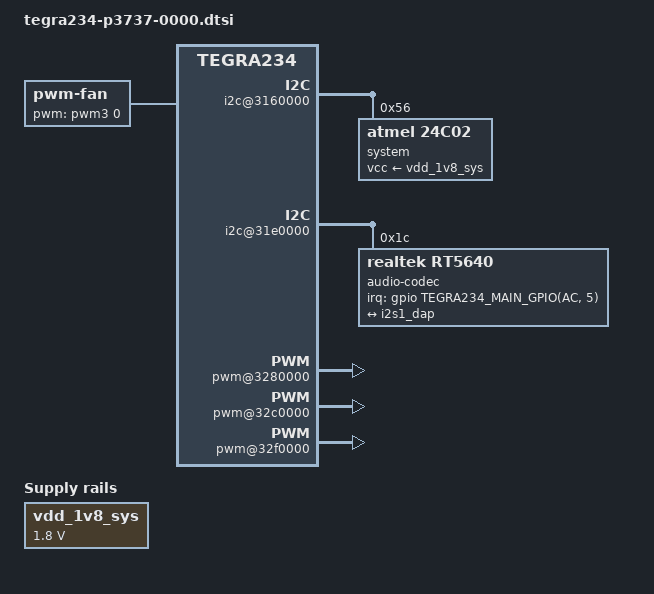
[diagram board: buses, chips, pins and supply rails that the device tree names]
// SPDX-License-Identifier: GPL-2.0

#include <dt-bindings/sound/rt5640.h>

/ {
	compatible = "nvidia,p3737-0000";

	bus@0 {
		aconnect@2900000 {
			ahub@2900800 {
				i2s@2901000 {
					ports {
						port@1 {
							endpoint {
								dai-format = "i2s";
								remote-endpoint = <&rt5640_ep>;
							};
						};
					};
				};
			};
		};

		i2c@3160000 {
			status = "okay";

			eeprom@56 {
				compatible = "atmel,24c02";
				reg = <0x56>;

				label = "system";
				vcc-supply = <&vdd_1v8_sys>;
				address-width = <8>;
				pagesize = <8>;
				size = <256>;
				read-only;
			};
		};

		i2c@31e0000 {
			status = "okay";

			audio-codec@1c {
				compatible = "realtek,rt5640";
				reg = <0x1c>;
				interrupt-parent = <&gpio>;
				interrupts = <TEGRA234_MAIN_GPIO(AC, 5) GPIO_ACTIVE_HIGH>;
				clocks = <&bpmp TEGRA234_CLK_AUD_MCLK>;
				clock-names = "mclk";
				realtek,dmic1-data-pin = <RT5640_DMIC1_DATA_PIN_NONE>;
				realtek,dmic2-data-pin = <RT5640_DMIC2_DATA_PIN_NONE>;
				realtek,jack-detect-source = <RT5640_JD_SRC_HDA_HEADER>;
				sound-name-prefix = "CVB-RT";

				port {
					rt5640_ep: endpoint {
						remote-endpoint = <&i2s1_dap>;
						mclk-fs = <256>;
					};
				};
			};
		};

		pwm@3280000 {
			status = "okay";
		};

		pwm@32c0000 {
			status = "okay";
		};

		pwm@32f0000 {
			status = "okay";
		};
	};

	fan: pwm-fan {
		compatible = "pwm-fan";
		pwms = <&pwm3 0 45334>;
		#cooling-cells = <2>;
	};

	vdd_1v8_sys: regulator-vdd-1v8-sys {
		compatible = "regulator-fixed";
		regulator-name = "VDD_1V8_SYS";
		regulator-min-microvolt = <1800000>;
		regulator-max-microvolt = <1800000>;
		regulator-always-on;
	};
};
